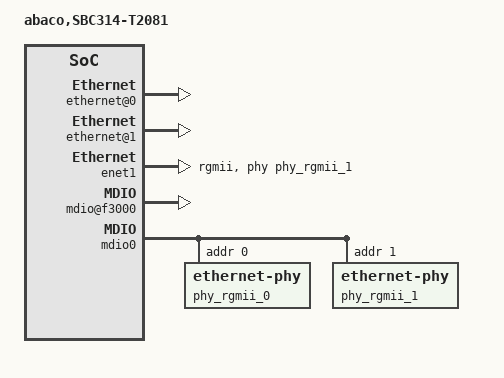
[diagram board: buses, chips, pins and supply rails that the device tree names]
/*
 * SBC314-T2080 Board Device Tree Source
 *
 * Adapted from t1080PCIe devicetree sources
 *
 * Copyright 2014 Freescale Semiconductor Inc.
 * Copyright 2017 Abaco Systems Ltd.
 *
 * Redistribution and use in source and binary forms, with or without
 * modification, are permitted provided that the following conditions are met:
 *     * Redistributions of source code must retain the above copyright
 *	 notice, this list of conditions and the following disclaimer.
 *     * Redistributions in binary form must reproduce the above copyright
 *	 notice, this list of conditions and the following disclaimer in the
 *	 documentation and/or other materials provided with the distribution.
 *     * Neither the name of Freescale Semiconductor nor the
 *	 names of its contributors may be used to endorse or promote products
 *	 derived from this software without specific prior written permission.
 *
 *
 * ALTERNATIVELY, this software may be distributed under the terms of the
 * GNU General Public License ("GPL") as published by the Free Software
 * Foundation, either version 2 of that License or (at your option) any
 * later version.
 *
 * THIS SOFTWARE IS PROVIDED BY Freescale Semiconductor "AS IS" AND ANY
 * EXPRESS OR IMPLIED WARRANTIES, INCLUDING, BUT NOT LIMITED TO, THE IMPLIED
 * WARRANTIES OF MERCHANTABILITY AND FITNESS FOR A PARTICULAR PURPOSE ARE
 * DISCLAIMED. IN NO EVENT SHALL Freescale Semiconductor BE LIABLE FOR ANY
 * DIRECT, INDIRECT, INCIDENTAL, SPECIAL, EXEMPLARY, OR CONSEQUENTIAL DAMAGES
 * (INCLUDING, BUT NOT LIMITED TO, PROCUREMENT OF SUBSTITUTE GOODS OR SERVICES;
 * LOSS OF USE, DATA, OR PROFITS; OR BUSINESS INTERRUPTION) HOWEVER CAUSED AND
 * ON ANY THEORY OF LIABILITY, WHETHER IN CONTRACT, STRICT LIABILITY, OR TORT
 * (INCLUDING NEGLIGENCE OR OTHERWISE) ARISING IN ANY WAY OUT OF THE USE OF THIS
 * SOFTWARE, EVEN IF ADVISED OF THE POSSIBILITY OF SUCH DAMAGE.
 */

/include/ "sbc314-t2081si-pre.dtsi"
/include/ "sbc314-tx.dtsi"
/include/ "ppc11a-localbus-t2081.dtsi"

/ {
	model = "abaco,SBC314-T2081";
	compatible = "abaco,SBC314-T2081";
	#address-cells = <2>;
	#size-cells = <2>;
	interrupt-parent = <&mpic>;

	rio: rapidio@ffe0c0000 {
		reg = <0xf 0xfe0c0000 0 0x11000>;

		port1 {
			ranges = <0 0 0xc 0x20000000 0 0x10000000>;
		};
		port2 {
			ranges = <0 0 0xc 0x30000000 0 0x10000000>;
		};
	};

	fsl,dpaa {
		compatible = "fsl,t2080-dpaa", "fsl,dpaa";
		ethernet@0 {
			compatible = "fsl,t2080-dpa-ethernet", "fsl,dpa-ethernet";
			fsl,fman-mac = <&enet0>;
		};
		ethernet@1 {
			compatible = "fsl,t2080-dpa-ethernet", "fsl,dpa-ethernet";
			fsl,fman-mac = <&enet1>;
		};
	};


	pci2: pcie@ffe260000 {
		reg = <0xf 0xfe260000 0 0x10000>;
		ranges = <0x02000000 0 0xc0000000 0xc 0x00000000 0x0 0x40000000
			  0x01000000 0 0x00000000 0xf 0xf8000000 0x0 0x00010000>;
		pcie@0 {
			ranges = <0x02000000 0 0xc0000000
				  0x02000000 0 0xc0000000
				  0 0x40000000

				  0x01000000 0 0x00000000
				  0x01000000 0 0x00000000
				  0 0x00010000>;
		};
	};

	pci3: pcie@ffe270000 {
		reg = <0xf 0xfe270000 0 0x10000>;
		ranges = <0x02000000 0x0 0xc0000000 0xc 0x40000000 0x0 0x20000000
			  0x01000000 0x0 0x00000000 0xf 0xf8010000 0x0 0x00010000>;
		pcie@0 {
			ranges = <0x02000000 0 0xc0000000
				  0x02000000 0 0xc0000000
				  0 0x10000000

				  0x01000000 0 0x00000000
				  0x01000000 0 0x00000000
				  0 0x00010000>;
		};
	};
};

&soc {
	fman0: fman@400000 {
		rcpm-wakeup = <&rcpm 0x00000008>;

		enet0: ethernet@e4000 {
			phy-handle = <&phy_rgmii_0>;
			phy-connection-type = "rgmii";
			rcpm-wakeup = <&rcpm 0x10000000>;	
		};

		enet1: ethernet@f2000 {
			phy-handle = <&phy_rgmii_1>;
			phy-connection-type = "rgmii";
			cell-index = <3>;
			compatible = "fsl,fman-memac";
			reg = <0xf2000 0x1000>;
			fsl,port-handles = <&fman0_rx9 &fman0_tx9>;
			rcpm-wakeup = <&rcpm 0x08000000>;
		};

		fman0_rx9: port@91000 {
			cell-index = <3>;
			compatible = "fsl,fman-port-1g-rx";
			reg = <0x91000 0x1000>;
		};

		fman0_tx9: port@b1000 {
			cell-index = <3>;
			compatible = "fsl,fman-port-1g-tx";
			reg = <0xb1000 0x1000>;
			fsl,qman-channel-id = <0x801>;
			};

		mdio@f3000 {
			#address-cells = <1>;
			#size-cells = <0>;
			compatible = "fsl,fman-memac-mdio";
			reg = <0xf3000 0x1000>;
		};

		mdio0: mdio@fc000 {
			phy_rgmii_0: ethernet-phy@00 {
				reg = <0x00>;
			};
			phy_rgmii_1: ethernet-phy@01 {
				reg = <0x01>;
			};
		};
	};
};

/include/ "sbc314-tx.dtsi"
/include/ "sbc314-t2080si-post.dtsi"
/include/ "qoriq-dpaa-res3.dtsi"
/include/ "qoriq-qman-ceetm0.dtsi"
